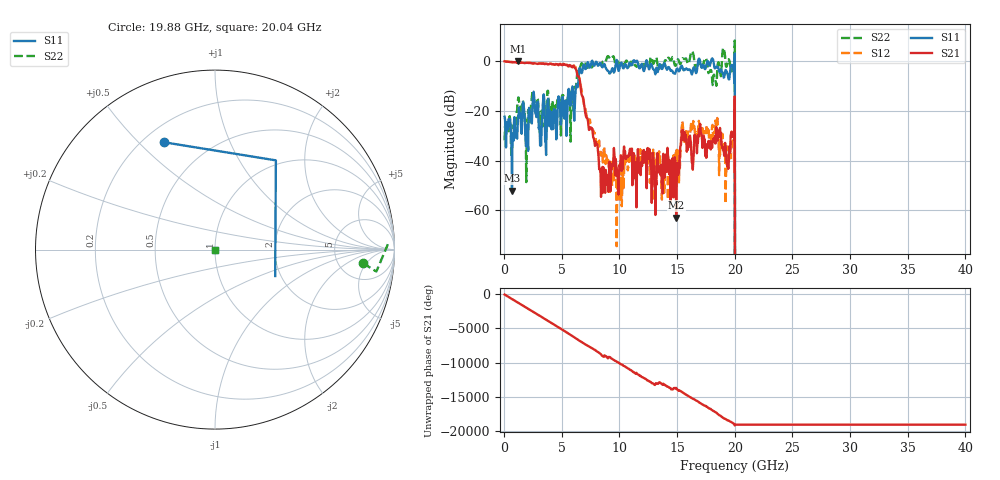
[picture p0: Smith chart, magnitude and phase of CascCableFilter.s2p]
# MHz MA S R 50.0
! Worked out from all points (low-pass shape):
!   1000 points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, 40 MHz to 40 GHz, reference 50 ohm
!   highest |S21| = -0.01 dB at 1.24 GHz (marker M1); lowest = -62.9 dB at 14.92 GHz (marker M2)
!   |S21| within 3 dB of the highest: start of sweep to 6.201 GHz
!   lowest |S11| = -52.1 dB at 680 MHz (marker M3), VSWR 1.00, Z = 50.1 - j0.239 ohm
!   |S11| at or under -10 dB: start of sweep to 6.254 GHz; 6.334 GHz to 6.403 GHz (68.83 MHz wide, 1.08 % of centre); 20 GHz to end of sweep
!   |S22| runs from - to 8.4 dB; largest |S21 - S12| = 0.16
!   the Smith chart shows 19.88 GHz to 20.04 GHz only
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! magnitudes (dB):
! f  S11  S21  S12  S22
! 40 MHz  -22.4  0.0  0.0  -31.9
! 680 MHz  -52.1  -0.3  -0.3  -31.5
! 1.24 GHz  -22.7  0.0  0.2  -14.5
! 2.04 GHz  -28.1  -0.6  -0.6  -23.6
! 2.48 GHz  -15.5  -0.9  -0.9  -12.1
! 3.16 GHz  -29.3  -0.9  -0.9  -24.9
! 5.88 GHz  -11.2  -2.3  -2.3  -13.3
! 6.72 GHz  -4.8  -13.4  -11.8  -0.8
! 8.56 GHz  -2.3  -53.0  -40.8  -0.1
! 9.96 GHz  -3.7  -46.2  -46.7  -1.0
! 11 GHz  -1.7  -36.9  -37.9  -0.2
! 13.36 GHz  -3.6  -40.7  -39.9  -3.1
! 14.92 GHz  -3.6  -62.9  -36.5  -1.4
! 15.56 GHz  -3.6  -30.7  -29.7  1.1
! 18.4 GHz  -2.3  -26.5  -25.9  -9.8
! 19.28 GHz  -4.1  -40.4  -44.0  -2.2
! 19.8 GHz  -1.9  -30.4  -29.1  -2.0
! 20.04 GHz  -  -  -  -
! 20.24 GHz  -  -  -  -
! 26.68 GHz  -  -  -  -
! 33.36 GHz  -  -  -  -
! 40 GHz  -  -  -  -
